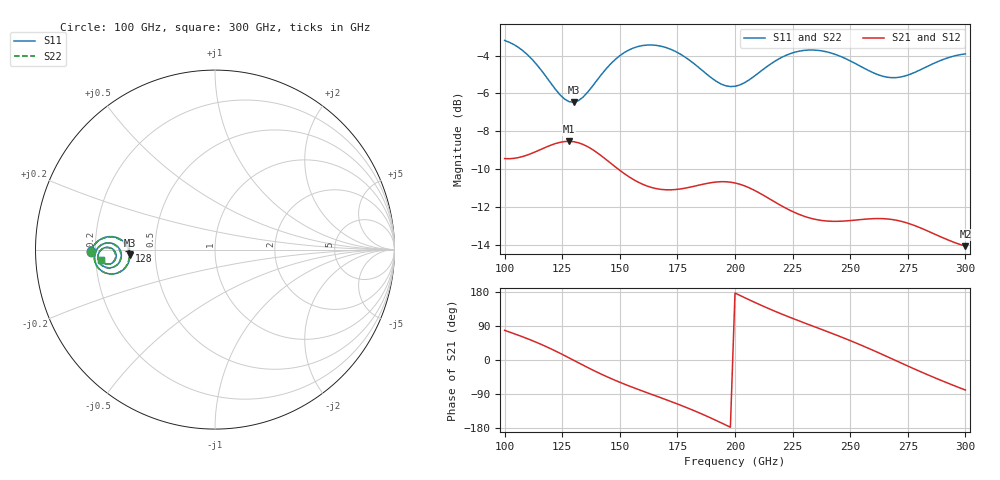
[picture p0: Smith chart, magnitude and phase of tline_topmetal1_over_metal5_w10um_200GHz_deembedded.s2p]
! Created with skrf 2.2.0 (http://scikit-rf.org).
# GHz S DB R 50.0
! Port[1] = P1
! Port[2] = P2
!freq dBS11 angS11 dBS21 angS21 dBS12 angS12 dBS22 angS22
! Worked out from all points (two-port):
!   101 points, 100 GHz to 300 GHz, reference 50 ohm
!   highest |S21| = -8.53 dB at 128 GHz (marker M1); lowest = -14.1 dB at 300 GHz (marker M2)
!   |S21| within 3 dB of the highest: start of sweep to 214.4 GHz
!   lowest |S11| = -6.5 dB at 130 GHz (marker M3), VSWR 2.81, Z = 17.8 - j1.51 ohm
!   |S11| at or under -10 dB: nowhere
!   |S22| runs from -6.4 to -3.2 dB; largest |S21 - S12| = 4.3e-14
!   S11 on the Smith chart (normalised r, x): 100 GHz: 0.18, -0.01; 128 GHz: 0.35, -0.01; 300 GHz: 0.22, -0.04
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100  -3.20 -179.3  -9.44 78.3  -9.44 78.3  -3.19 -179.1
108  -3.75 175.5  -9.33 60.7  -9.33 60.7  -3.73 175.7
116  -4.79 172.8  -8.94 40.8  -8.94 40.8  -4.76 173.0
122  -5.77 174.7  -8.65 23.9  -8.65 23.9  -5.73 174.9
128  -6.44 -178.8  -8.53 5.5  -8.53 5.5  -6.38 -178.7
130  -6.47 -176.0  -8.55 -0.8  -8.55 -0.8  -6.41 -176.0
134  -6.20 -170.9  -8.69 -13.4  -8.69 -13.4  -6.15 -170.9
140  -5.32 -166.8  -9.12 -31.7  -9.12 -31.7  -5.28 -166.8
148  -4.21 -167.6  -9.88 -53.7  -9.88 -53.7  -4.18 -167.6
158  -3.52 -172.7  -10.69 -77.7  -10.69 -77.7  -3.50 -172.7
168  -3.51 -178.4  -11.07 -100.1  -11.07 -100.1  -3.49 -178.4
184  -4.60 176.4  -10.86 -138.2  -10.86 -138.2  -4.58 176.5
192  -5.37 178.6  -10.68 -160.1  -10.68 -160.1  -5.33 178.8
200  -5.62 -175.6  -10.73 176.7  -10.73 176.7  -5.58 -175.5
208  -5.12 -171.0  -11.09 153.7  -11.09 153.7  -5.09 -170.9
216  -4.40 -170.3  -11.64 132.1  -11.64 132.1  -4.37 -170.3
224  -3.90 -172.5  -12.18 112.2  -12.18 112.2  -3.87 -172.4
234  -3.71 -176.4  -12.63 88.9  -12.63 88.9  -3.68 -176.3
252  -4.40 178.8  -12.70 46.2  -12.70 46.2  -4.37 178.9
268  -5.17 -177.0  -12.66 3.5  -12.66 3.5  -5.12 -176.9
284  -4.54 -172.2  -13.29 -39.9  -13.29 -39.9  -4.50 -172.2
300  -3.91 -174.9  -14.07 -79.3  -14.07 -79.3  -3.88 -174.9
